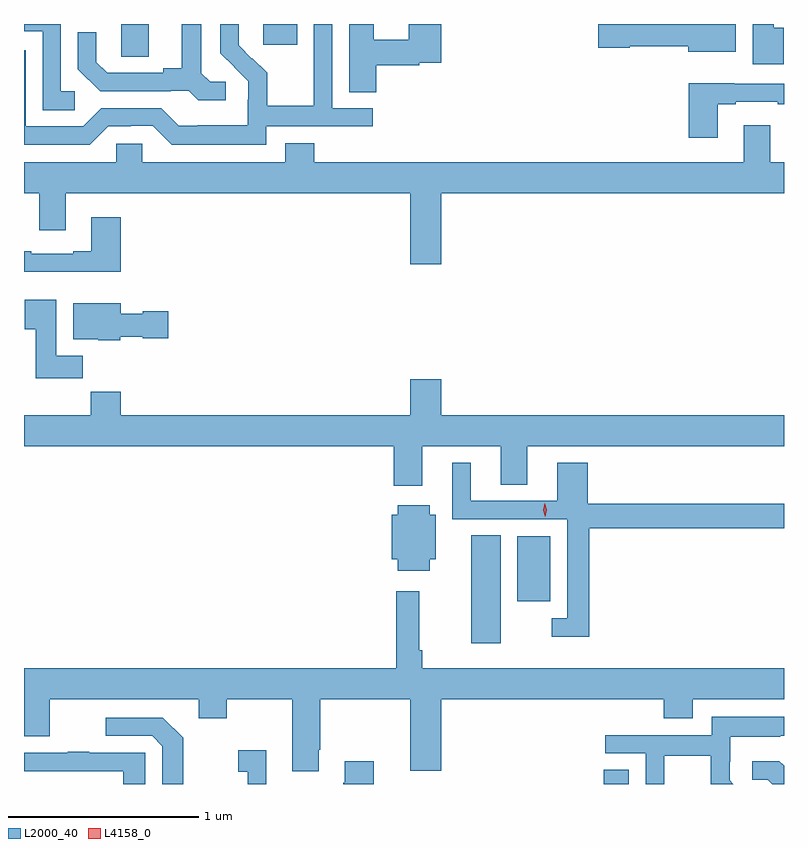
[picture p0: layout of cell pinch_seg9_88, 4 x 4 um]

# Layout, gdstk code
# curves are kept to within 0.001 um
import gdstk
lib = gdstk.Library(unit=1e-6, precision=1e-09)
def R(c, l, rs):  # rectangles x0, y0, x1, y1
    for r in rs: c.add(gdstk.rectangle(r[:2], r[2:], *l))
def P(c, l, *ps):  # polygons
    for p in ps: c.add(gdstk.Polygon(p, *l))
L2000_40 = (2000, 40)
L4158_0 = (4158, 0)

pinch_seg9_88 = lib.new_cell('pinch_seg9_88')
R(pinch_seg9_88, L2000_40, [(1113.08,1179.991,1113.211,1180.067), (1112.381,1180.731,1112.536,1181.3), (1112.624,1180.952,1112.797,1181.296), (1110.54,1183.819,1110.685,1183.991), (1111.286,1183.881,1111.465,1183.991)])
P(pinch_seg9_88, L2000_40, [(1111.302,1183.452),(1111.864,1183.452),(1111.864,1183.548),(1111.65,1183.548),(1111.65,1183.991),(1111.554,1183.991),(1111.554,1183.784),(1111.552,1183.784),(1111.552,1183.561),(1111.307,1183.561),(1111.307,1183.735),(1111.23,1183.812),(1111.227,1183.809),(1111.157,1183.88),(1111.157,1183.991),(1111.062,1183.991),(1111.062,1183.838),(1111.208,1183.69),(1111.208,1183.593),(1111.206,1183.593),(1111.206,1183.459),(1110.943,1183.459),(1110.943,1183.455),(1110.843,1183.455),(1110.75,1183.548),(1110.435,1183.548),(1110.339,1183.452),(1110.036,1183.452),(1110.036,1183.854),(1110.028,1183.854),(1110.028,1183.356),(1110.375,1183.356),(1110.471,1183.452),(1110.59,1183.452),(1110.59,1183.455),(1110.705,1183.455),(1110.805,1183.355),(1111.302,1183.355)],
  [(1111.883,1183.775),(1112.108,1183.775),(1112.108,1183.787),(1112.225,1183.787),(1112.225,1183.991),(1112.054,1183.991),(1112.054,1183.909),(1111.87,1183.909),(1111.87,1183.991),(1111.739,1183.991),(1111.739,1183.633),(1111.883,1183.633)],
  [(1113.775,1183.991),(1113.05,1183.991),(1113.05,1183.865),(1113.216,1183.865),(1113.216,1183.873),(1113.524,1183.873),(1113.524,1183.844),(1113.775,1183.844)],
  [(1110.295,1183.638),(1110.222,1183.638),(1110.222,1183.991),(1110.028,1183.991),(1110.028,1183.953),(1110.126,1183.953),(1110.126,1183.537),(1110.295,1183.537)],
  [(1111.09,1183.686),(1111.008,1183.686),(1110.961,1183.733),(1110.961,1183.991),(1110.857,1183.991),(1110.857,1183.757),(1110.761,1183.757),(1110.761,1183.734),(1110.466,1183.734),(1110.409,1183.791),(1110.409,1183.948),(1110.312,1183.948),(1110.312,1183.754),(1110.428,1183.638),(1110.8,1183.638),(1110.8,1183.641),(1110.894,1183.641),(1110.946,1183.589),(1111.09,1183.589)],
  [(1114.027,1183.972),(1113.973,1183.972),(1113.973,1183.991),(1113.863,1183.991),(1113.863,1183.779),(1114.027,1183.779)],
  [(1113.679,1183.569),(1113.775,1183.569),(1113.775,1183.581),(1113.995,1183.581),(1113.995,1183.569),(1114.028,1183.569),(1114.028,1183.677),(1113.767,1183.677),(1113.767,1183.678),(1113.527,1183.678),(1113.527,1183.392),(1113.679,1183.392)],
  [(1112.224,1183.1),(1114.028,1183.1),(1114.028,1183.264),(1113.955,1183.264),(1113.955,1183.459),(1113.815,1183.459),(1113.815,1183.264),(1111.556,1183.264),(1111.556,1183.363),(1111.403,1183.363),(1111.403,1183.264),(1110.651,1183.264),(1110.651,1183.362),(1110.513,1183.362),(1110.513,1183.264),(1110.028,1183.264),(1110.028,1183.1),(1110.107,1183.1),(1110.107,1182.906),(1110.247,1182.906),(1110.247,1183.1),(1112.06,1183.1),(1112.06,1182.726),(1112.224,1182.726)],
  [(1110.536,1182.973),(1110.383,1182.973),(1110.383,1182.796),(1110.287,1182.796),(1110.287,1182.783),(1110.067,1182.783),(1110.067,1182.796),(1110.028,1182.796),(1110.028,1182.686),(1110.536,1182.686)],
  [(1110.338,1182.244),(1110.199,1182.244),(1110.199,1182.541),(1110.032,1182.541),(1110.032,1182.385),(1110.089,1182.385),(1110.089,1182.126),(1110.338,1182.126)],
  [(1110.534,1182.344),(1110.654,1182.344),(1110.654,1182.337),(1110.787,1182.337),(1110.787,1182.479),(1110.654,1182.479),(1110.654,1182.466),(1110.538,1182.466),(1110.538,1182.52),(1110.287,1182.52),(1110.287,1182.332),(1110.42,1182.332),(1110.42,1182.326),(1110.534,1182.326)],
  [(1112.125,1181.768),(1112.537,1181.768),(1112.537,1181.566),(1112.677,1181.566),(1112.677,1181.768),(1114.028,1181.768),(1114.028,1181.932),(1112.224,1181.932),(1112.224,1182.121),(1112.06,1182.121),(1112.06,1181.932),(1110.536,1181.932),(1110.536,1182.056),(1110.379,1182.056),(1110.379,1181.932),(1110.028,1181.932),(1110.028,1181.768),(1111.973,1181.768),(1111.973,1181.562),(1112.125,1181.562)],
  [(1113.002,1181.338),(1114.028,1181.338),(1114.028,1181.467),(1112.996,1181.467),(1112.996,1181.683),(1112.834,1181.683),(1112.834,1181.481),(1112.38,1181.481),(1112.38,1181.683),(1112.282,1181.683),(1112.282,1181.385),(1112.886,1181.385),(1112.886,1180.863),(1112.805,1180.863),(1112.805,1180.766),(1113.002,1180.766)],
  [(1112.164,1181.174),(1112.194,1181.174),(1112.194,1181.407),(1112.164,1181.407),(1112.164,1181.458),(1111.994,1181.458),(1111.994,1181.407),(1111.964,1181.407),(1111.964,1181.174),(1111.994,1181.174),(1111.994,1181.114),(1112.164,1181.114)],
  [(1112.123,1180.696),(1112.108,1180.696),(1112.108,1181.005),(1111.987,1181.005),(1111.987,1180.6),(1110.028,1180.6),(1110.028,1180.242),(1110.163,1180.242),(1110.163,1180.436),(1110.947,1180.436),(1110.947,1180.337),(1111.095,1180.337),(1111.095,1180.436),(1111.439,1180.436),(1111.439,1180.059),(1111.579,1180.059),(1111.579,1180.171),(1111.587,1180.171),(1111.587,1180.436),(1112.06,1180.436),(1112.06,1180.062),(1112.224,1180.062),(1112.224,1180.436),(1113.395,1180.436),(1113.395,1180.337),(1113.547,1180.337),(1113.547,1180.436),(1114.028,1180.436),(1114.028,1180.6),(1112.123,1180.6)],
  [(1113.399,1180.14),(1113.643,1180.14),(1113.643,1179.991),(1113.761,1179.991),(1113.742,1180.01),(1113.742,1180.107),(1113.744,1180.107),(1113.744,1180.241),(1114.007,1180.241),(1114.007,1180.245),(1114.028,1180.245),(1114.028,1180.345),(1113.648,1180.345),(1113.648,1180.248),(1113.087,1180.248),(1113.087,1180.152),(1113.3,1180.152),(1113.3,1179.991),(1113.399,1179.991)],
  [(1110.865,1180.235),(1110.759,1180.341),(1110.459,1180.341),(1110.459,1180.245),(1110.702,1180.245),(1110.756,1180.191),(1110.756,1179.991),(1110.865,1179.991)],
  [(1111.303,1180.168),(1111.155,1180.168),(1111.155,1180.055),(1111.206,1180.055),(1111.206,1179.991),(1111.303,1179.991)],
  [(1110.666,1180.155),(1110.371,1180.155),(1110.371,1180.16),(1110.259,1180.16),(1110.259,1180.155),(1110.028,1180.155),(1110.028,1180.059),(1110.55,1180.059),(1110.55,1179.991),(1110.666,1179.991)],
  [(1114.028,1180.087),(1114.004,1180.111),(1113.861,1180.111),(1113.861,1180.014),(1113.942,1180.014),(1113.965,1179.991),(1114.028,1179.991)],
  [(1111.87,1180.111),(1111.715,1180.111),(1111.715,1179.998),(1111.708,1179.998),(1111.708,1179.991),(1111.87,1179.991)])
P(pinch_seg9_88, L4158_0, [(1112.772,1181.397),(1112.772,1181.397),(1112.76,1181.433),(1112.769,1181.469),(1112.769,1181.469),(1112.769,1181.469),(1112.78,1181.434),(1112.772,1181.397)])

lib.write_gds('pinch_seg9_88.gds')
